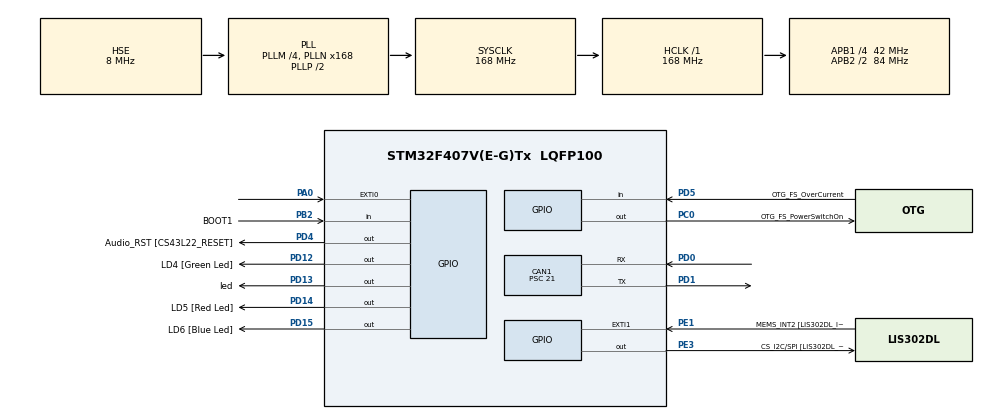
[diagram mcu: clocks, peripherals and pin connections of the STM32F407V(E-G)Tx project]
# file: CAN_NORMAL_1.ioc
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CAN1.BS1=CAN_BS1_2TQ
CAN1.CalculateBaudRate=500000
CAN1.CalculateTimeBit=2000
CAN1.CalculateTimeQuantum=500.0
CAN1.Prescaler=21
Mcu.Family=STM32F4
Mcu.Name=STM32F407V(E-G)Tx
Mcu.Package=LQFP100
NVIC.CAN1_RX0_IRQn=true\:0\:0\:false\:false\:true\:true\:true\:true
NVIC.EXTI0_IRQn=true\:0\:0\:false\:false\:true\:true\:true\:true
NVIC.PriorityGroup=NVIC_PRIORITYGROUP_0
PA0-WKUP.Signal=GPXTI0
PA10.GPIO_Label=OTG_FS_ID
PA10.GPIO_Mode=GPIO_MODE_AF_PP
PA10.GPIO_PuPd=GPIO_NOPULL
PA10.GPIO_Speed=GPIO_SPEED_FREQ_LOW
PA10.Signal=USB_OTG_FS_ID
PA11.GPIO_Label=OTG_FS_DM
PA11.GPIO_Mode=GPIO_MODE_AF_PP
PA11.GPIO_PuPd=GPIO_NOPULL
PA11.GPIO_Speed=GPIO_SPEED_FREQ_LOW
PA11.Signal=USB_OTG_FS_DM
PA12.GPIO_Label=OTG_FS_DP
PA12.GPIO_Mode=GPIO_MODE_AF_PP
PA12.GPIO_PuPd=GPIO_NOPULL
PA12.GPIO_Speed=GPIO_SPEED_FREQ_LOW
PA12.Signal=USB_OTG_FS_DP
PA13.GPIO_Label=SWDIO
PA13.Mode=Serial_Wire
PA13.Signal=SYS_JTMS-SWDIO
PA14.Mode=Serial_Wire
PA14.Signal=SYS_JTCK-SWCLK
PA4.GPIO_Label=I2S3_WS [CS43L22_LRCK]
PA4.GPIO_Mode=GPIO_MODE_AF_PP
PA4.GPIO_PuPd=GPIO_NOPULL
PA4.GPIO_Speed=GPIO_SPEED_FREQ_LOW
PA4.Signal=I2S3_WS
PA5.GPIO_Label=SPI1_SCK [LIS302DL_SCL/SPC]
PA5.GPIO_Mode=GPIO_MODE_AF_PP
PA5.GPIO_PuPd=GPIO_NOPULL
PA5.GPIO_Speed=GPIO_SPEED_FREQ_LOW
PA5.Signal=SPI1_SCK
PA6.GPIO_Label=SPI1_MISO [LIS302DL_SDO]
PA6.GPIO_Mode=GPIO_MODE_AF_PP
PA6.GPIO_PuPd=GPIO_NOPULL
PA6.GPIO_Speed=GPIO_SPEED_FREQ_LOW
PA6.Signal=SPI1_MISO
PA7.GPIO_Label=SPI1_MOSI [LIS302DL_SDA/SDI/SDO]
PA7.GPIO_Mode=GPIO_MODE_AF_PP
PA7.GPIO_PuPd=GPIO_NOPULL
PA7.GPIO_Speed=GPIO_SPEED_FREQ_LOW
PA7.Signal=SPI1_MOSI
PA9.GPIO_Label=VBUS_FS
PA9.GPIO_Mode=GPIO_MODE_INPUT
PA9.GPIO_PuPd=GPIO_NOPULL
PA9.Signal=USB_OTG_FS_VBUS
PB10.GPIO_Label=CLK_IN [MP45DT02_CLK]
PB10.GPIO_Mode=GPIO_MODE_AF_PP
PB10.GPIO_PuPd=GPIO_NOPULL
PB10.GPIO_Speed=GPIO_SPEED_FREQ_LOW
PB10.Signal=I2S2_CK
PB2.GPIO_Label=BOOT1
PB2.GPIO_Mode=GPIO_MODE_INPUT
PB2.GPIO_PuPd=GPIO_NOPULL
PB2.Signal=GPIO_Input
PB3.GPIO_Label=SWO
PB3.Signal=SYS_JTDO-SWO
PB6.GPIO_Label=Audio_SCL [CS43L22_SCL]
PB6.GPIO_Mode=GPIO_MODE_AF_OD
PB6.GPIO_PuPd=GPIO_NOPULL
PB6.GPIO_Speed=GPIO_SPEED_FREQ_LOW
PB6.Signal=I2C1_SCL
PB9.GPIO_Label=Audio_SDA [CS43L22_SDA]
PB9.GPIO_Mode=GPIO_MODE_AF_OD
PB9.GPIO_PuPd=GPIO_NOPULL
PB9.GPIO_Speed=GPIO_SPEED_FREQ_LOW
PB9.Signal=I2C1_SDA
PC0.GPIO_Label=OTG_FS_PowerSwitchOn
PC0.GPIO_PuPd=GPIO_NOPULL
PC0.GPIO_Speed=GPIO_SPEED_FREQ_LOW
PC0.PinState=GPIO_PIN_SET
PC0.Signal=GPIO_Output
PC10.GPIO_Label=I2S3_SCK [CS43L22_SCLK]
PC10.GPIO_Mode=GPIO_MODE_AF_PP
PC10.GPIO_PuPd=GPIO_NOPULL
PC10.GPIO_Speed=GPIO_SPEED_FREQ_LOW
PC10.Signal=I2S3_CK
PC12.GPIO_Label=I2S3_SD [CS43L22_SDIN]
PC12.GPIO_Mode=GPIO_MODE_AF_PP
PC12.GPIO_PuPd=GPIO_NOPULL
PC12.GPIO_Speed=GPIO_SPEED_FREQ_LOW
PC12.Signal=I2S3_SD
PC14-OSC32_IN.GPIO_Label=PC14-OSC32_IN
PC14-OSC32_IN.Signal=RCC_OSC32_IN
PC15-OSC32_OUT.GPIO_Label=PC15-OSC32_OUT
PC15-OSC32_OUT.Signal=RCC_OSC32_OUT
PC3.GPIO_Label=PDM_OUT [MP45DT02_DOUT]
PC3.GPIO_Mode=GPIO_MODE_AF_PP
PC3.GPIO_PuPd=GPIO_NOPULL
PC3.GPIO_Speed=GPIO_SPEED_FREQ_LOW
PC3.Signal=I2S2_SD
PC7.GPIO_Label=I2S3_MCK [CS43L22_MCLK]
PC7.GPIO_Mode=GPIO_MODE_AF_PP
PC7.GPIO_PuPd=GPIO_NOPULL
PC7.GPIO_Speed=GPIO_SPEED_FREQ_LOW
PC7.Signal=I2S3_MCK
PD0.GPIO_PuPd=GPIO_PULLUP
PD0.Mode=CAN_Activate
PD0.Signal=CAN1_RX
PD1.Mode=CAN_Activate
PD1.Signal=CAN1_TX
PD12.GPIO_Label=LD4 [Green Led]
PD12.GPIO_PuPd=GPIO_NOPULL
PD12.GPIO_Speed=GPIO_SPEED_FREQ_LOW
PD12.Signal=GPIO_Output
PD13.GPIO_Label=led
PD13.Signal=GPIO_Output
PD14.GPIO_Label=LD5 [Red Led]
PD14.GPIO_PuPd=GPIO_NOPULL
PD14.GPIO_Speed=GPIO_SPEED_FREQ_LOW
PD14.Signal=GPIO_Output
PD15.GPIO_Label=LD6 [Blue Led]
PD15.GPIO_PuPd=GPIO_NOPULL
PD15.GPIO_Speed=GPIO_SPEED_FREQ_LOW
PD15.Signal=GPIO_Output
PD4.GPIO_Label=Audio_RST [CS43L22_RESET]
PD4.GPIO_PuPd=GPIO_NOPULL
PD4.GPIO_Speed=GPIO_SPEED_FREQ_LOW
PD4.Signal=GPIO_Output
PD5.GPIO_Label=OTG_FS_OverCurrent
PD5.GPIO_Mode=GPIO_MODE_INPUT
PD5.GPIO_PuPd=GPIO_NOPULL
PD5.Signal=GPIO_Input
PE1.GPIO_Label=MEMS_INT2 [LIS302DL_INT2]
PE1.GPIO_ModeDefaultEXTI=GPIO_MODE_EVT_RISING
PE1.GPIO_PuPd=GPIO_NOPULL
PE1.Signal=GPXTI1
PE3.GPIO_Label=CS_I2C/SPI [LIS302DL_CS_I2C/SPI]
PE3.GPIO_PuPd=GPIO_NOPULL
PE3.GPIO_Speed=GPIO_SPEED_FREQ_LOW
PE3.Signal=GPIO_Output
PH0-OSC_IN.GPIO_Label=PH0-OSC_IN
PH0-OSC_IN.Mode=HSE-External-Oscillator
PH0-OSC_IN.Signal=RCC_OSC_IN
PH1-OSC_OUT.GPIO_Label=PH1-OSC_OUT
PH1-OSC_OUT.Mode=HSE-External-Oscillator
PH1-OSC_OUT.Signal=RCC_OSC_OUT
ProjectManager.HeapSize=0x200
ProjectManager.StackSize=0x400
ProjectManager.TargetToolchain=STM32CubeIDE
RCC.48MHZClocksFreq_Value=48000000
RCC.AHBFreq_Value=168000000
RCC.APB1CLKDivider=RCC_HCLK_DIV4
RCC.APB1Freq_Value=42000000
RCC.APB1TimFreq_Value=84000000
RCC.APB2CLKDivider=RCC_HCLK_DIV2
RCC.APB2Freq_Value=84000000
RCC.APB2TimFreq_Value=168000000
RCC.CortexFreq_Value=168000000
RCC.HCLKFreq_Value=168000000
RCC.HSE_VALUE=8000000
RCC.HSI_VALUE=16000000
RCC.LSE_VALUE=32768
RCC.PLLM=4
RCC.PLLN=168
RCC.PLLQ=7
RCC.PLLSourceVirtual=RCC_PLLSOURCE_HSE
RCC.SYSCLKFreq_VALUE=168000000
RCC.SYSCLKSource=RCC_SYSCLKSOURCE_PLLCLK
RCC.VCOOutputFreq_Value=336000000
board=STM32F407G-DISC1

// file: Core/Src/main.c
/* USER CODE BEGIN Header */
/**
  ******************************************************************************
  * @file           : main.c
  * @brief          : Main program body
  ******************************************************************************
  * @attention
  *
  * Copyright (c) 2025 STMicroelectronics.
  * All rights reserved.
  *
  * This software is licensed under terms that can be found in the LICENSE file
  * in the root directory of this software component.
  * If no LICENSE file comes with this software, it is provided AS-IS.
  *
  ******************************************************************************
  */
/* USER CODE END Header */
#include "main.h"

CAN_HandleTypeDef hcan1;

void SystemClock_Config(void);
static void MX_GPIO_Init(void);
static void MX_CAN1_Init(void);

/* USER CODE BEGIN 0 */

CAN_TxHeaderTypeDef TxHeader;
CAN_RxHeaderTypeDef RxHeader;

uint8_t TxData[8];
uint8_t RxData[8];

uint8_t TxMailbox;

int datacheck= 0;
void HAL_GPIO_EXIT_Callback (uint16_t GPIO_Pin)
{
	if (GPIO_Pin == GPIO_PIN_0)
	{
		TxData[0]=100;
		TxData[1]=10;

		HAL_CAN_AddTxMessage(&hcan1, &TxHeader, TxData, &TxMailbox);

	}
}

void HAL_CAN_RxFifo0FullCallback(CAN_HandleTypeDef *hcan1)
{
	HAL_CAN_GetRxMessage( hcan1, CAN_RX_FIFO0, &RxHeader, RxData);
	if(RxHeader.DLC==2)
	{
		datacheck=1;
	}
}
/* USER CODE END 0 */

int main(void)
{

  /* MCU Configuration--------------------------------------------------------*/

  /* Reset of all peripherals, Initializes the Flash interface and the Systick. */
  HAL_Init();

  /* Configure the system clock */
  SystemClock_Config();

  /* Initialize all configured peripherals */
  MX_GPIO_Init();
  MX_CAN1_Init();
  /* USER CODE BEGIN 2 */

  HAL_CAN_Start(&hcan1);

  HAL_CAN_ActivateNotification(&hcan1, CAN_IT_RX_FIFO0_MSG_PENDING);

  TxHeader.DLC=2;
  TxHeader.IDE= CAN_ID_STD;
  TxHeader.RTR=CAN_RTR_DATA;
  TxHeader.StdId= 0x103;

  /* USER CODE END 2 */

  /* Infinite loop */
  while (1)
  {

    /* USER CODE BEGIN 3 */
	  if (datacheck)
	  	  {
	  		  // blink the LED
	  		  for (int i=0; i<RxData[1]; i++)
	  		  {
	  			  HAL_GPIO_TogglePin(GPIOD, GPIO_PIN_13);
	  			  HAL_Delay(RxData[0]);
	  		  }

	  		  datacheck = 0;

	  			TxData[0] = 100;   // ms Delay
	  			TxData[1] = 40;    // loop rep

	  			HAL_CAN_AddTxMessage(&hcan1, &TxHeader, TxData, &TxMailbox);
	  	  }

  }
  /* USER CODE END 3 */
}

void SystemClock_Config(void)
{
  RCC_OscInitTypeDef RCC_OscInitStruct = {0};
  RCC_ClkInitTypeDef RCC_ClkInitStruct = {0};

  /** Configure the main internal regulator output voltage
  */
  __HAL_RCC_PWR_CLK_ENABLE();
  __HAL_PWR_VOLTAGESCALING_CONFIG(PWR_REGULATOR_VOLTAGE_SCALE1);

  /** Initializes the RCC Oscillators according to the specified parameters
  * in the RCC_OscInitTypeDef structure.
  */
  RCC_OscInitStruct.OscillatorType = RCC_OSCILLATORTYPE_HSE;
  RCC_OscInitStruct.HSEState = RCC_HSE_ON;
  RCC_OscInitStruct.PLL.PLLState = RCC_PLL_ON;
  RCC_OscInitStruct.PLL.PLLSource = RCC_PLLSOURCE_HSE;
  RCC_OscInitStruct.PLL.PLLM = 4;
  RCC_OscInitStruct.PLL.PLLN = 168;
  RCC_OscInitStruct.PLL.PLLP = RCC_PLLP_DIV2;
  RCC_OscInitStruct.PLL.PLLQ = 7;
  if (HAL_RCC_OscConfig(&RCC_OscInitStruct) != HAL_OK)
  {
    Error_Handler();
  }

  /** Initializes the CPU, AHB and APB buses clocks
  */
  RCC_ClkInitStruct.ClockType = RCC_CLOCKTYPE_HCLK|RCC_CLOCKTYPE_SYSCLK
                              |RCC_CLOCKTYPE_PCLK1|RCC_CLOCKTYPE_PCLK2;
  RCC_ClkInitStruct.SYSCLKSource = RCC_SYSCLKSOURCE_PLLCLK;
  RCC_ClkInitStruct.AHBCLKDivider = RCC_SYSCLK_DIV1;
  RCC_ClkInitStruct.APB1CLKDivider = RCC_HCLK_DIV4;
  RCC_ClkInitStruct.APB2CLKDivider = RCC_HCLK_DIV2;

  if (HAL_RCC_ClockConfig(&RCC_ClkInitStruct, FLASH_LATENCY_5) != HAL_OK)
  {
    Error_Handler();
  }
}

static void MX_CAN1_Init(void)
{

  hcan1.Instance = CAN1;
  hcan1.Init.Prescaler = 21;
  hcan1.Init.Mode = CAN_MODE_NORMAL;
  hcan1.Init.SyncJumpWidth = CAN_SJW_1TQ;
  hcan1.Init.TimeSeg1 = CAN_BS1_2TQ;
  hcan1.Init.TimeSeg2 = CAN_BS2_1TQ;
  hcan1.Init.TimeTriggeredMode = DISABLE;
  hcan1.Init.AutoBusOff = DISABLE;
  hcan1.Init.AutoWakeUp = DISABLE;
  hcan1.Init.AutoRetransmission = DISABLE;
  hcan1.Init.ReceiveFifoLocked = DISABLE;
  hcan1.Init.TransmitFifoPriority = DISABLE;
  if (HAL_CAN_Init(&hcan1) != HAL_OK)
  {
    Error_Handler();
  }
  /* USER CODE BEGIN CAN1_Init 2 */
  CAN_FilterTypeDef canFilterConfig;

  canFilterConfig.FilterActivation = CAN_FILTER_ENABLE;
  canFilterConfig.FilterBank = 18;
  canFilterConfig.FilterFIFOAssignment = CAN_FILTER_FIFO0;
  canFilterConfig.FilterIdHigh = 0x103<<5;
  canFilterConfig.FilterIdLow = 0x00;
  canFilterConfig.FilterMaskIdHigh = 0x0000;
  canFilterConfig.FilterMaskIdLow = 0x0000;
  canFilterConfig.FilterMode = CAN_FILTERMODE_IDMASK;
  canFilterConfig.FilterScale = CAN_FILTERSCALE_32BIT;
  canFilterConfig.SlaveStartFilterBank = 20;

  HAL_CAN_ConfigFilter(&hcan1, &canFilterConfig);

  /* USER CODE END CAN1_Init 2 */

}

static void MX_GPIO_Init(void)
{
  GPIO_InitTypeDef GPIO_InitStruct = {0};

  /* GPIO Ports Clock Enable */
  __HAL_RCC_GPIOE_CLK_ENABLE();
  __HAL_RCC_GPIOC_CLK_ENABLE();
  __HAL_RCC_GPIOH_CLK_ENABLE();
  __HAL_RCC_GPIOA_CLK_ENABLE();
  __HAL_RCC_GPIOB_CLK_ENABLE();
  __HAL_RCC_GPIOD_CLK_ENABLE();

  /*Configure GPIO pin Output Level */
  HAL_GPIO_WritePin(CS_I2C_SPI_GPIO_Port, CS_I2C_SPI_Pin, GPIO_PIN_RESET);

  /*Configure GPIO pin Output Level */
  HAL_GPIO_WritePin(OTG_FS_PowerSwitchOn_GPIO_Port, OTG_FS_PowerSwitchOn_Pin, GPIO_PIN_SET);

  /*Configure GPIO pin Output Level */
  HAL_GPIO_WritePin(GPIOD, LD4_Pin|led_Pin|LD5_Pin|LD6_Pin
                          |Audio_RST_Pin, GPIO_PIN_RESET);

  /*Configure GPIO pin : CS_I2C_SPI_Pin */
  GPIO_InitStruct.Pin = CS_I2C_SPI_Pin;
  GPIO_InitStruct.Mode = GPIO_MODE_OUTPUT_PP;
  GPIO_InitStruct.Pull = GPIO_NOPULL;
  GPIO_InitStruct.Speed = GPIO_SPEED_FREQ_LOW;
  HAL_GPIO_Init(CS_I2C_SPI_GPIO_Port, &GPIO_InitStruct);

  /*Configure GPIO pin : OTG_FS_PowerSwitchOn_Pin */
  GPIO_InitStruct.Pin = OTG_FS_PowerSwitchOn_Pin;
  GPIO_InitStruct.Mode = GPIO_MODE_OUTPUT_PP;
  GPIO_InitStruct.Pull = GPIO_NOPULL;
  GPIO_InitStruct.Speed = GPIO_SPEED_FREQ_LOW;
  HAL_GPIO_Init(OTG_FS_PowerSwitchOn_GPIO_Port, &GPIO_InitStruct);

  /*Configure GPIO pin : PDM_OUT_Pin */
  GPIO_InitStruct.Pin = PDM_OUT_Pin;
  GPIO_InitStruct.Mode = GPIO_MODE_AF_PP;
  GPIO_InitStruct.Pull = GPIO_NOPULL;
  GPIO_InitStruct.Speed = GPIO_SPEED_FREQ_LOW;
  GPIO_InitStruct.Alternate = GPIO_AF5_SPI2;
  HAL_GPIO_Init(PDM_OUT_GPIO_Port, &GPIO_InitStruct);

  /*Configure GPIO pin : PA0 */
  GPIO_InitStruct.Pin = GPIO_PIN_0;
  GPIO_InitStruct.Mode = GPIO_MODE_IT_RISING;
  GPIO_InitStruct.Pull = GPIO_NOPULL;
  HAL_GPIO_Init(GPIOA, &GPIO_InitStruct);

  /*Configure GPIO pin : I2S3_WS_Pin */
  GPIO_InitStruct.Pin = I2S3_WS_Pin;
  GPIO_InitStruct.Mode = GPIO_MODE_AF_PP;
  GPIO_InitStruct.Pull = GPIO_NOPULL;
  GPIO_InitStruct.Speed = GPIO_SPEED_FREQ_LOW;
  GPIO_InitStruct.Alternate = GPIO_AF6_SPI3;
  HAL_GPIO_Init(I2S3_WS_GPIO_Port, &GPIO_InitStruct);

  /*Configure GPIO pins : SPI1_SCK_Pin SPI1_MISO_Pin SPI1_MOSI_Pin */
  GPIO_InitStruct.Pin = SPI1_SCK_Pin|SPI1_MISO_Pin|SPI1_MOSI_Pin;
  GPIO_InitStruct.Mode = GPIO_MODE_AF_PP;
  GPIO_InitStruct.Pull = GPIO_NOPULL;
  GPIO_InitStruct.Speed = GPIO_SPEED_FREQ_LOW;
  GPIO_InitStruct.Alternate = GPIO_AF5_SPI1;
  HAL_GPIO_Init(GPIOA, &GPIO_InitStruct);

  /*Configure GPIO pin : BOOT1_Pin */
  GPIO_InitStruct.Pin = BOOT1_Pin;
  GPIO_InitStruct.Mode = GPIO_MODE_INPUT;
  GPIO_InitStruct.Pull = GPIO_NOPULL;
  HAL_GPIO_Init(BOOT1_GPIO_Port, &GPIO_InitStruct);

  /*Configure GPIO pin : CLK_IN_Pin */
  GPIO_InitStruct.Pin = CLK_IN_Pin;
  GPIO_InitStruct.Mode = GPIO_MODE_AF_PP;
  GPIO_InitStruct.Pull = GPIO_NOPULL;
  GPIO_InitStruct.Speed = GPIO_SPEED_FREQ_LOW;
  GPIO_InitStruct.Alternate = GPIO_AF5_SPI2;
  HAL_GPIO_Init(CLK_IN_GPIO_Port, &GPIO_InitStruct);

  /*Configure GPIO pins : LD4_Pin led_Pin LD5_Pin LD6_Pin
                           Audio_RST_Pin */
  GPIO_InitStruct.Pin = LD4_Pin|led_Pin|LD5_Pin|LD6_Pin
                          |Audio_RST_Pin;
  GPIO_InitStruct.Mode = GPIO_MODE_OUTPUT_PP;
  GPIO_InitStruct.Pull = GPIO_NOPULL;
  GPIO_InitStruct.Speed = GPIO_SPEED_FREQ_LOW;
  HAL_GPIO_Init(GPIOD, &GPIO_InitStruct);

  /*Configure GPIO pins : I2S3_MCK_Pin I2S3_SCK_Pin I2S3_SD_Pin */
  GPIO_InitStruct.Pin = I2S3_MCK_Pin|I2S3_SCK_Pin|I2S3_SD_Pin;
  GPIO_InitStruct.Mode = GPIO_MODE_AF_PP;
  GPIO_InitStruct.Pull = GPIO_NOPULL;
  GPIO_InitStruct.Speed = GPIO_SPEED_FREQ_LOW;
  GPIO_InitStruct.Alternate = GPIO_AF6_SPI3;
  HAL_GPIO_Init(GPIOC, &GPIO_InitStruct);

  /*Configure GPIO pin : VBUS_FS_Pin */
  GPIO_InitStruct.Pin = VBUS_FS_Pin;
  GPIO_InitStruct.Mode = GPIO_MODE_INPUT;
  GPIO_InitStruct.Pull = GPIO_NOPULL;
  HAL_GPIO_Init(VBUS_FS_GPIO_Port, &GPIO_InitStruct);

  /*Configure GPIO pins : OTG_FS_ID_Pin OTG_FS_DM_Pin OTG_FS_DP_Pin */
  GPIO_InitStruct.Pin = OTG_FS_ID_Pin|OTG_FS_DM_Pin|OTG_FS_DP_Pin;
  GPIO_InitStruct.Mode = GPIO_MODE_AF_PP;
  GPIO_InitStruct.Pull = GPIO_NOPULL;
  GPIO_InitStruct.Speed = GPIO_SPEED_FREQ_LOW;
  GPIO_InitStruct.Alternate = GPIO_AF10_OTG_FS;
  HAL_GPIO_Init(GPIOA, &GPIO_InitStruct);

  /*Configure GPIO pin : OTG_FS_OverCurrent_Pin */
  GPIO_InitStruct.Pin = OTG_FS_OverCurrent_Pin;
  GPIO_InitStruct.Mode = GPIO_MODE_INPUT;
  GPIO_InitStruct.Pull = GPIO_NOPULL;
  HAL_GPIO_Init(OTG_FS_OverCurrent_GPIO_Port, &GPIO_InitStruct);

  /*Configure GPIO pins : Audio_SCL_Pin Audio_SDA_Pin */
  GPIO_InitStruct.Pin = Audio_SCL_Pin|Audio_SDA_Pin;
  GPIO_InitStruct.Mode = GPIO_MODE_AF_OD;
  GPIO_InitStruct.Pull = GPIO_NOPULL;
  GPIO_InitStruct.Speed = GPIO_SPEED_FREQ_LOW;
  GPIO_InitStruct.Alternate = GPIO_AF4_I2C1;
  HAL_GPIO_Init(GPIOB, &GPIO_InitStruct);

  /*Configure GPIO pin : MEMS_INT2_Pin */
  GPIO_InitStruct.Pin = MEMS_INT2_Pin;
  GPIO_InitStruct.Mode = GPIO_MODE_EVT_RISING;
  GPIO_InitStruct.Pull = GPIO_NOPULL;
  HAL_GPIO_Init(MEMS_INT2_GPIO_Port, &GPIO_InitStruct);

  /* EXTI interrupt init*/
  HAL_NVIC_SetPriority(EXTI0_IRQn, 0, 0);
  HAL_NVIC_EnableIRQ(EXTI0_IRQn);

}

void Error_Handler(void)
{
  __disable_irq();
  while (1)
  {
  }
}
